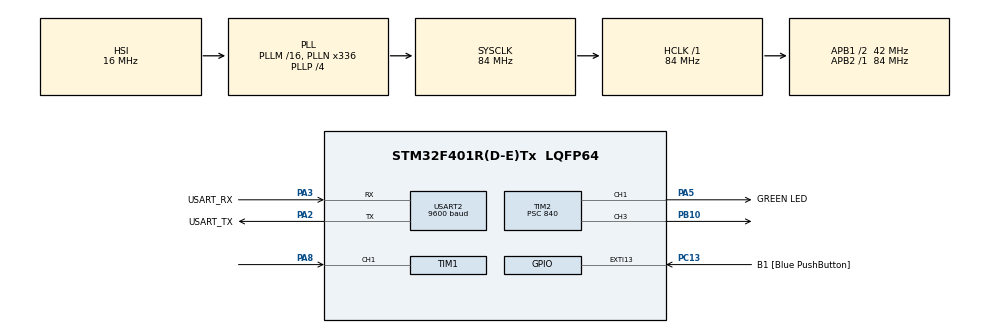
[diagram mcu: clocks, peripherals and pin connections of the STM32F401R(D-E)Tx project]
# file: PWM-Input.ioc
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Dma.Request0=TIM1_CH1
Dma.TIM1_CH1.0.Direction=DMA_PERIPH_TO_MEMORY
Dma.TIM1_CH1.0.FIFOMode=DMA_FIFOMODE_DISABLE
Dma.TIM1_CH1.0.Instance=DMA2_Stream1
Dma.TIM1_CH1.0.MemDataAlignment=DMA_MDATAALIGN_HALFWORD
Dma.TIM1_CH1.0.MemInc=DMA_MINC_ENABLE
Dma.TIM1_CH1.0.Mode=DMA_NORMAL
Dma.TIM1_CH1.0.PeriphDataAlignment=DMA_PDATAALIGN_HALFWORD
Dma.TIM1_CH1.0.PeriphInc=DMA_PINC_DISABLE
Dma.TIM1_CH1.0.Priority=DMA_PRIORITY_LOW
Mcu.Family=STM32F4
Mcu.Name=STM32F401R(D-E)Tx
Mcu.Package=LQFP64
NVIC.DMA2_Stream1_IRQn=true\:0\:0\:false\:false\:true\:false
NVIC.PriorityGroup=NVIC_PRIORITYGROUP_0
NVIC.TIM1_CC_IRQn=true\:0\:0\:false\:false\:true\:true
PA13.GPIO_Label=TMS
PA13.Mode=Serial_Wire
PA13.Signal=SYS_JTMS-SWDIO
PA14.GPIO_Label=TCK
PA14.Mode=Serial_Wire
PA14.Signal=SYS_JTCK-SWCLK
PA2.GPIO_Label=USART_TX
PA2.GPIO_Mode=GPIO_MODE_AF_PP
PA2.GPIO_PuPd=GPIO_NOPULL
PA2.GPIO_Speed=GPIO_SPEED_FREQ_LOW
PA2.Mode=Asynchronous
PA2.Signal=USART2_TX
PA3.GPIO_Label=USART_RX
PA3.GPIO_Mode=GPIO_MODE_AF_PP
PA3.GPIO_PuPd=GPIO_NOPULL
PA3.GPIO_Speed=GPIO_SPEED_FREQ_LOW
PA3.Mode=Asynchronous
PA3.Signal=USART2_RX
PA5.GPIO_Label=GREEN LED
PA5.Signal=S_TIM2_CH1_ETR
PA8.Signal=S_TIM1_CH1
PB10.Signal=S_TIM2_CH3
PB3.GPIO_Label=SWO
PB3.Signal=SYS_JTDO-SWO
PC13-ANTI_TAMP.GPIO_Label=B1 [Blue PushButton]
PC13-ANTI_TAMP.GPIO_ModeDefaultEXTI=GPIO_MODE_IT_FALLING
PC13-ANTI_TAMP.GPIO_PuPd=GPIO_NOPULL
PC13-ANTI_TAMP.Signal=GPXTI13
PC14-OSC32_IN.Mode=LSE-External-Oscillator
PC14-OSC32_IN.Signal=RCC_OSC32_IN
PC15-OSC32_OUT.Mode=LSE-External-Oscillator
PC15-OSC32_OUT.Signal=RCC_OSC32_OUT
PH0\ -\ OSC_IN.Mode=HSE-External-Clock-Source
PH0\ -\ OSC_IN.Signal=RCC_OSC_IN
PH1\ -\ OSC_OUT.Mode=HSE-External-Clock-Source
PH1\ -\ OSC_OUT.Signal=RCC_OSC_OUT
ProjectManager.HeapSize=0x200
ProjectManager.StackSize=0x400
ProjectManager.TargetToolchain=SW4STM32
RCC.48MHZClocksFreq_Value=48000000
RCC.AHBFreq_Value=84000000
RCC.APB1CLKDivider=RCC_HCLK_DIV2
RCC.APB1Freq_Value=42000000
RCC.APB1TimFreq_Value=84000000
RCC.APB2Freq_Value=84000000
RCC.APB2TimFreq_Value=84000000
RCC.CortexFreq_Value=84000000
RCC.HCLKFreq_Value=84000000
RCC.HSE_VALUE=8000000
RCC.HSI_VALUE=16000000
RCC.PLLN=336
RCC.PLLP=RCC_PLLP_DIV4
RCC.PLLQ=7
RCC.SYSCLKFreq_VALUE=84000000
RCC.SYSCLKSource=RCC_SYSCLKSOURCE_PLLCLK
RCC.VCOOutputFreq_Value=336000000
SH.S_TIM1_CH1.0=TIM1_CH1,Input_Capture1_from_TI1
SH.S_TIM2_CH1_ETR.0=TIM2_CH1,PWM Generation1 CH1
SH.S_TIM2_CH3.0=TIM2_CH3,PWM Generation3 CH3
TIM1.Channel-Input_Capture1_from_TI1=TIM_CHANNEL_1
TIM1.ICFilter_CH1=5
TIM1.ICPolarity_CH1=TIM_INPUTCHANNELPOLARITY_BOTHEDGE
TIM1.Period=1000
TIM1.Prescaler=84
TIM1.TIM_MasterOutputTrigger=TIM_TRGO_ENABLE
TIM1.TIM_MasterSlaveMode=TIM_MASTERSLAVEMODE_DISABLE
TIM2.Channel-PWM\ Generation1\ CH1=TIM_CHANNEL_1
TIM2.Channel-PWM\ Generation3\ CH3=TIM_CHANNEL_3
TIM2.Period=6000
TIM2.Prescaler=840
USART2.BaudRate=9600
USART2.VirtualMode=VM_ASYNC
board=NUCLEO-F401RE

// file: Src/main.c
/**
  ******************************************************************************
  * @file           : main.c
  * @brief          : Main program body
  ******************************************************************************
  ** This notice applies to any and all portions of this file
  * that are not between comment pairs USER CODE BEGIN and
  * USER CODE END. Other portions of this file, whether
  * inserted by the user or by software development tools
  * are owned by their respective copyright owners.
  *
  * COPYRIGHT(c) 2019 STMicroelectronics
  *
  * Redistribution and use in source and binary forms, with or without modification,
  * are permitted provided that the following conditions are met:
  *   1. Redistributions of source code must retain the above copyright notice,
  *      this list of conditions and the following disclaimer.
  *   2. Redistributions in binary form must reproduce the above copyright notice,
  *      this list of conditions and the following disclaimer in the documentation
  *      and/or other materials provided with the distribution.
  *   3. Neither the name of STMicroelectronics nor the names of its contributors
  *      may be used to endorse or promote products derived from this software
  *      without specific prior written permission.
  *
  * THIS SOFTWARE IS PROVIDED BY THE COPYRIGHT HOLDERS AND CONTRIBUTORS "AS IS"
  * AND ANY EXPRESS OR IMPLIED WARRANTIES, INCLUDING, BUT NOT LIMITED TO, THE
  * IMPLIED WARRANTIES OF MERCHANTABILITY AND FITNESS FOR A PARTICULAR PURPOSE ARE
  * DISCLAIMED. IN NO EVENT SHALL THE COPYRIGHT HOLDER OR CONTRIBUTORS BE LIABLE
  * FOR ANY DIRECT, INDIRECT, INCIDENTAL, SPECIAL, EXEMPLARY, OR CONSEQUENTIAL
  * DAMAGES (INCLUDING, BUT NOT LIMITED TO, PROCUREMENT OF SUBSTITUTE GOODS OR
  * SERVICES; LOSS OF USE, DATA, OR PROFITS; OR BUSINESS INTERRUPTION) HOWEVER
  * CAUSED AND ON ANY THEORY OF LIABILITY, WHETHER IN CONTRACT, STRICT LIABILITY,
  * OR TORT (INCLUDING NEGLIGENCE OR OTHERWISE) ARISING IN ANY WAY OUT OF THE USE
  * OF THIS SOFTWARE, EVEN IF ADVISED OF THE POSSIBILITY OF SUCH DAMAGE.
  *
  ******************************************************************************
  */
#include "main.h"
#include "stm32f4xx_hal.h"
#include "dma.h"
#include "tim.h"
#include "usart.h"
#include "gpio.h"

/* USER CODE BEGIN Includes */
#include "stm32f4xx_hal_tim.h"
#include <stdint.h>
/* USER CODE END Includes */

/* USER CODE BEGIN PV */
/* Private variables ---------------------------------------------------------*/
uint32_t counter = 0 , IC_Value = 0;
uint8_t n=0;
/* USER CODE END PV */

void SystemClock_Config(void);

/* USER CODE BEGIN PFP */
/* Private function prototypes -----------------------------------------------*/

/* USER CODE END PFP */

int main(void)
{

  /* MCU Configuration----------------------------------------------------------*/

  /* Reset of all peripherals, Initializes the Flash interface and the Systick. */
  HAL_Init();

  /* Configure the system clock */
  SystemClock_Config();

  /* Initialize all configured peripherals */
  MX_GPIO_Init();
  MX_DMA_Init();
  MX_USART2_UART_Init();
  MX_TIM2_Init();
  MX_TIM1_Init();
  /* USER CODE BEGIN 2 */
  HAL_TIM_PWM_Start(&htim2,TIM_CHANNEL_3);
  __HAL_TIM_SET_COMPARE(&htim2,TIM_CHANNEL_3,0);
  while(HAL_OK != HAL_TIM_IC_Start_IT(&htim1,TIM_CHANNEL_1));
  uint8_t flag = 0;
  /* USER CODE END 2 */

  /* Infinite loop */
  /* USER CODE BEGIN WHILE */

  while (1)
  {
	  if(GPIO_PIN_RESET == HAL_GPIO_ReadPin(GPIOC , GPIO_PIN_13) && flag == 0){
		  n++;
	  	  flag = 1;
	  }else if(GPIO_PIN_SET == HAL_GPIO_ReadPin(GPIOC , GPIO_PIN_13)){
		  flag = 0;
	  }
	  counter = __HAL_TIM_GetCounter(&htim1);
	  __HAL_TIM_SET_COMPARE(&htim2,TIM_CHANNEL_3,n);
	  if(n>255) n=0;

  /* USER CODE END WHILE */

  }

}

void SystemClock_Config(void)
{

  RCC_OscInitTypeDef RCC_OscInitStruct;
  RCC_ClkInitTypeDef RCC_ClkInitStruct;

    /**Configure the main internal regulator output voltage
    */
  __HAL_RCC_PWR_CLK_ENABLE();

  __HAL_PWR_VOLTAGESCALING_CONFIG(PWR_REGULATOR_VOLTAGE_SCALE2);

    /**Initializes the CPU, AHB and APB busses clocks
    */
  RCC_OscInitStruct.OscillatorType = RCC_OSCILLATORTYPE_HSI;
  RCC_OscInitStruct.HSIState = RCC_HSI_ON;
  RCC_OscInitStruct.HSICalibrationValue = 16;
  RCC_OscInitStruct.PLL.PLLState = RCC_PLL_ON;
  RCC_OscInitStruct.PLL.PLLSource = RCC_PLLSOURCE_HSI;
  RCC_OscInitStruct.PLL.PLLM = 16;
  RCC_OscInitStruct.PLL.PLLN = 336;
  RCC_OscInitStruct.PLL.PLLP = RCC_PLLP_DIV4;
  RCC_OscInitStruct.PLL.PLLQ = 7;
  if (HAL_RCC_OscConfig(&RCC_OscInitStruct) != HAL_OK)
  {
    _Error_Handler(__FILE__, __LINE__);
  }

    /**Initializes the CPU, AHB and APB busses clocks
    */
  RCC_ClkInitStruct.ClockType = RCC_CLOCKTYPE_HCLK|RCC_CLOCKTYPE_SYSCLK
                              |RCC_CLOCKTYPE_PCLK1|RCC_CLOCKTYPE_PCLK2;
  RCC_ClkInitStruct.SYSCLKSource = RCC_SYSCLKSOURCE_PLLCLK;
  RCC_ClkInitStruct.AHBCLKDivider = RCC_SYSCLK_DIV1;
  RCC_ClkInitStruct.APB1CLKDivider = RCC_HCLK_DIV2;
  RCC_ClkInitStruct.APB2CLKDivider = RCC_HCLK_DIV1;

  if (HAL_RCC_ClockConfig(&RCC_ClkInitStruct, FLASH_LATENCY_2) != HAL_OK)
  {
    _Error_Handler(__FILE__, __LINE__);
  }

    /**Configure the Systick interrupt time
    */
  HAL_SYSTICK_Config(HAL_RCC_GetHCLKFreq()/1000);

    /**Configure the Systick
    */
  HAL_SYSTICK_CLKSourceConfig(SYSTICK_CLKSOURCE_HCLK);

  /* SysTick_IRQn interrupt configuration */
  HAL_NVIC_SetPriority(SysTick_IRQn, 0, 0);
}

/* USER CODE BEGIN 4 */
void HAL_TIM_IC_CaptureCallback(TIM_HandleTypeDef *htim){
	if(htim->Instance == TIM1){
		IC_Value = __HAL_TIM_GetCompare(&htim1 , TIM_CHANNEL_1);
		__HAL_TIM_SetCounter(&htim1 , 0);
	}
}
/* USER CODE END 4 */

void _Error_Handler(char *file, int line)
{
  while(1)
  {
  }
}

/************************ (C) COPYRIGHT STMicroelectronics *****END OF FILE****/
